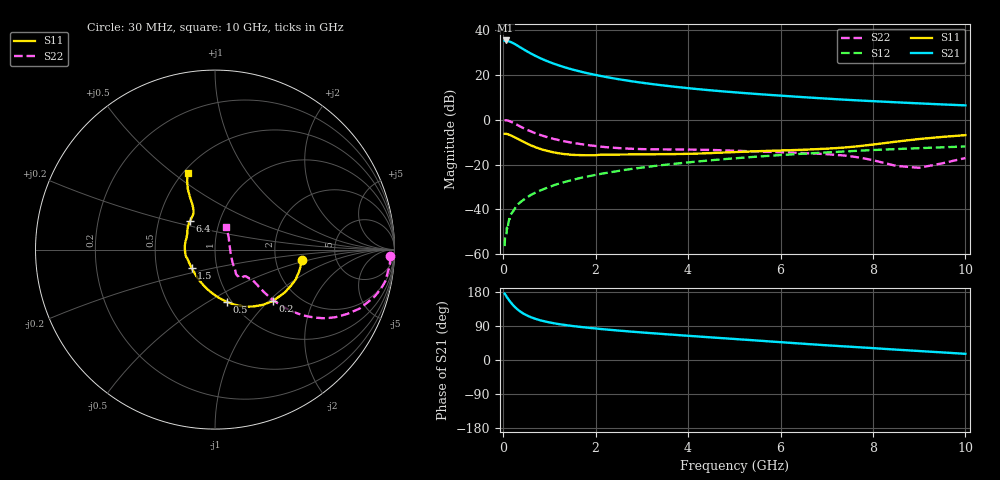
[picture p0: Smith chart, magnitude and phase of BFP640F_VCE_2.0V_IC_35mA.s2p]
! Infineon Technologies  Discrete & RF Semiconductors
! BFP640F
! VCE =  2.0 V,  IC =  35 mA
! Common Emitter S-Parameters:  Apr 2013
# GHz  S  MA  R  50
!  f  S11  S21  S12  S22
! GHz  MAG  ANG  MAG  ANG  MAG  ANG  MAG  ANG
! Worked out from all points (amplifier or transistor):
!   99 points, 30 MHz to 10 GHz, reference 50 ohm
!   highest |S21| = 35.5 dB at 50 MHz (marker M1)
!   |S21| within 3 dB of that: start of sweep to 362.6 MHz
!   unconditionally stable (mu >= 1): 1.685 GHz to end of sweep
!   at 350 MHz: K = 0.52, MSG = 34.9 dB, |S12| = -37.2 dB
!   at 3.5 GHz: K = 1.06, MAG = 16.2 dB, |S12| = -20.1 dB
!   at 10 GHz: K = 1.04, MAG = 7.9 dB, |S12| = -11.9 dB
!   S11 on the Smith chart (normalised r, x): 30 MHz: 2.81, -0.44; 200 MHz: 1.50, -1.06; 500 MHz: 0.95, -0.61; 1.5 GHz: 0.76, -0.16; 6.4 GHz: 0.72, +0.24; 10 GHz: 0.53, +0.57
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0.03  0.4864 -7.1  58.18 175.4  0.0015 84.4  0.9745 -2.1
0.05  0.4854 -11.5  59.24 171.7  0.0026 103.9  0.9777 -4.8
0.08  0.4801 -17.9  58.9 165.9  0.0039 78.9  0.9682 -9.0
0.12  0.4649 -26.9  56.8 158.9  0.0054 84.7  0.9439 -13.9
0.2  0.4313 -41.6  52.47 146.5  0.0086 79.4  0.8713 -22.1
0.25  0.4073 -49.1  49.32 140.1  0.0103 77.1  0.82 -25.9
0.3  0.3826 -55.9  46.04 134.4  0.0125 75.5  0.7711 -29.2
0.4  0.3372 -67.6  39.81 125.3  0.0152 73.2  0.6806 -33.9
0.5  0.2981 -77.3  34.51 118.3  0.018 72.8  0.6082 -36.9
0.6  0.2679 -85.9  30.21 112.9  0.021 72.8  0.5485 -38.8
0.7  0.2434 -93.8  26.69 108.5  0.0237 72.8  0.4997 -39.9
0.9  0.2081 -108.2  21.48 101.8  0.029 72.5  0.425 -41.0
1.2  0.1786 -126.7  16.44 94.8  0.0373 72.3  0.3524 -40.8
1.5  0.1645 -142.5  13.27 89.7  0.0453 71.5  0.3063 -39.8
1.7  0.1621 -151.4  11.76 86.9  0.051 70.8  0.284 -39.3
2.4  0.1672 -174.0  8.39 78.7  0.0694 67.9  0.2366 -40.5
3.4  0.1707 164.3  5.962 69.1  0.096 62.8  0.218 -44.0
5.1  0.1916 142.9  4.04 54.6  0.1401 53.7  0.2023 -48.9
6.4  0.212 130.7  3.252 43.7  0.1725 46.0  0.1822 -49.3
6.7  0.2191 126.8  3.105 41.2  0.1794 44.3  0.1765 -48.8
8.5  0.325 115.5  2.46 27.4  0.2218 33.6  0.0934 -19.0
10  0.4535 109.6  2.098 16.3  0.2534 24.7  0.14 64.0
